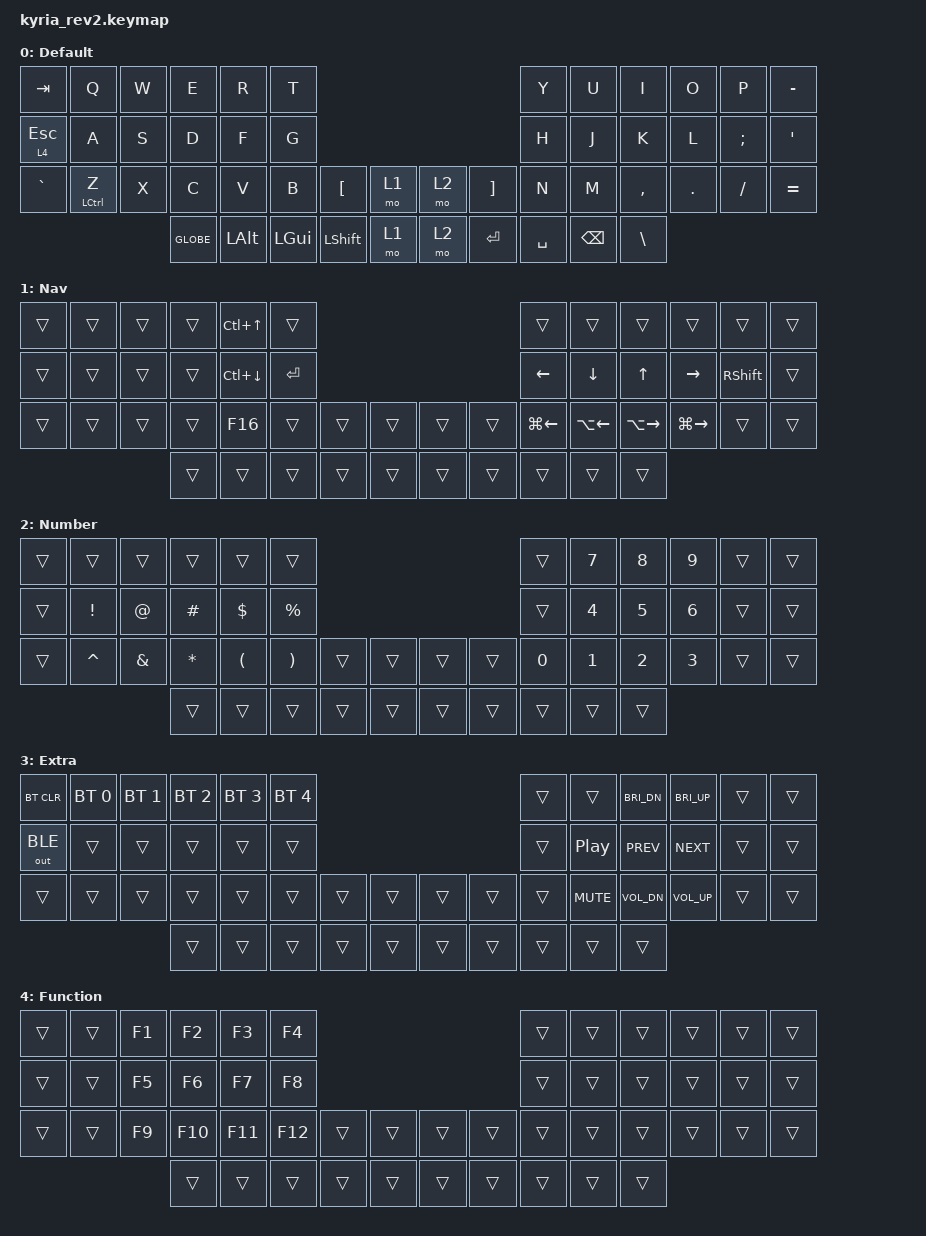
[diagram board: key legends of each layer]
/*
 * Copyright (c) 2020 The ZMK Contributors
 *
 * SPDX-License-Identifier: MIT
 */

#include <behaviors.dtsi>
#include <dt-bindings/zmk/keys.h>
#include <dt-bindings/zmk/bt.h>
#include <dt-bindings/zmk/outputs.h>

/ {
    keymap {
        compatible = "zmk,keymap";

        // 0

        default_layer {
            display-name = "Default";
            bindings = <
&kp TAB     &kp Q        &kp W  &kp E      &kp R     &kp T                                         &kp Y      &kp U     &kp I      &kp O    &kp P     &kp MINUS
&lt 4 ESC   &kp A        &kp S  &kp D      &kp F     &kp G                                         &kp H      &kp J     &kp K      &kp L    &kp SEMI  &kp SQT
&kp GRAVE   &mt LCTRL Z  &kp X  &kp C      &kp V     &kp B     &kp LBKT    &mo 1  &mo 2  &kp RBKT  &kp N      &kp M     &kp COMMA  &kp DOT  &kp FSLH  &kp EQUAL
                                &kp GLOBE  &kp LALT  &kp LGUI  &kp LSHIFT  &mo 1  &mo 2  &kp RET   &kp SPACE  &kp BSPC  &kp BSLH
            >;
        };

        // 1

        nav {
            display-name = "Nav";
            bindings = <
 &trans  &trans  &trans  &trans  &kp LC(UP)    &trans                                   &trans        &trans        &trans         &trans         &trans      &trans
 &trans  &trans  &trans  &trans  &kp LC(DOWN)  &kp RET                                  &kp LEFT      &kp DOWN      &kp UP         &kp RIGHT      &kp RSHIFT  &trans
 &trans  &trans  &trans  &trans  &kp F16       &trans   &trans  &trans  &trans  &trans  &kp LG(LEFT)  &kp LA(LEFT)  &kp LA(RIGHT)  &kp LG(RIGHT)  &trans      &trans
                         &trans  &trans        &trans   &trans  &trans  &trans  &trans  &trans        &trans        &trans
            >;
        };

        // 2

        num {
            display-name = "Number";
            bindings = <
 &trans  &trans     &trans    &trans     &trans    &trans                                     &trans  &kp N7  &kp N8  &kp N9  &trans  &trans
 &trans  &kp EXCL   &kp AT    &kp HASH   &kp DLLR  &kp PRCNT                                  &trans  &kp N4  &kp N5  &kp N6  &trans  &trans
 &trans  &kp CARET  &kp AMPS  &kp ASTRK  &kp LPAR  &kp RPAR   &trans  &trans  &trans  &trans  &kp N0  &kp N1  &kp N2  &kp N3  &trans  &trans
                              &trans     &trans    &trans     &trans  &trans  &trans  &trans  &trans  &trans  &trans
            >;
        };

        // 3

        ext {
            display-name = "Extra";
            bindings = <
&bt BT_CLR    &bt BT_SEL 0  &bt BT_SEL 1  &bt BT_SEL 2  &bt BT_SEL 3  &bt BT_SEL 4                                  &trans  &trans      &kp C_BRI_DN  &kp C_BRI_UP  &trans  &trans
&out OUT_BLE  &trans        &trans        &trans        &trans        &trans                                        &trans  &kp C_PP    &kp C_PREV    &kp C_NEXT    &trans  &trans
&trans        &trans        &trans        &trans        &trans        &trans        &trans  &trans  &trans  &trans  &trans  &kp K_MUTE  &kp C_VOL_DN  &kp C_VOL_UP  &trans  &trans
                                          &trans        &trans        &trans        &trans  &trans  &trans  &trans  &trans  &trans      &trans
            >;
        };

        // duplicated nav and num layers to resolve conflict with conditional layer 3

        // 4

        fun {
            display-name = "Function";
            bindings = <
 &trans  &trans    &kp F1  &kp F2    &kp F3    &kp F4                                     &trans     &trans    &trans     &trans    &trans    &trans
 &trans  &trans    &kp F5  &kp F6    &kp F7    &kp F8                                     &trans     &trans    &trans     &trans    &trans    &trans
 &trans  &trans    &kp F9  &kp F10   &kp F11   &kp F12    &trans  &trans  &trans  &trans  &trans     &trans    &trans     &trans    &trans    &trans
                           &trans    &trans    &trans     &trans  &trans  &trans  &trans  &trans     &trans    &trans
            >;
        };
    };
};

/ {
    conditional_layers {
        compatible = "zmk,conditional-layers";

        tri_layer {
            if-layers = <1 2>;// nav && num
            then-layer = <3>;// ext
        };
    };
};
